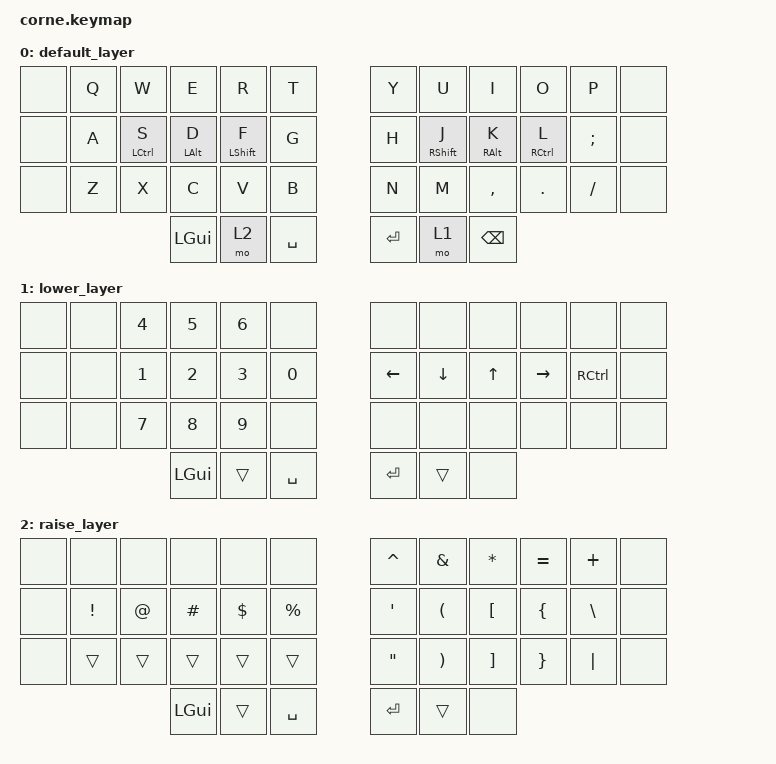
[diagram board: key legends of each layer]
/*
 * Copyright (c) 2020 The ZMK Contributors
 *
 * SPDX-License-Identifier: MIT
 */

#include <behaviors.dtsi>
#include <dt-bindings/zmk/keys.h>

/ {
    behaviors {
        as_ht: autoshift_hold_tap {
            compatible = "zmk,behavior-hold-tap";
            label = "AUTOSHIFT_HOLD_TAP";
            #binding-cells = <2>;
            tapping-term-ms = <300>;
            bindings = <&shifted>, <&kp>;
        };

        hm: homerow_mods {
            compatible = "zmk,behavior-hold-tap";
            #binding-cells = <2>;
            tapping-term-ms = <250>;
            quick-tap-ms = <0>;
            flavor = "tap-preferred";
            bindings = <&kp>, <&kp>;
        };
    };

    macros {
        shifted: macro_shifted_kp {
            #binding-cells = <1>;
            label = "MACRO_SHIFTED_KP";
            compatible = "zmk,behavior-macro-one-param";
            bindings =
                <&macro_press>,
                <&kp LSHFT &macro_param_1to1>,
                <&macro_tap>,
                <&kp MACRO_PLACEHOLDER>,
                <&macro_release>,
                <&kp LSHFT>;
        };

        as: autoshift {
            compatible = "zmk,behavior-macro-one-param";
            #binding-cells = <1>;
            label = "AUTOSHIFT_KP";
            bindings =
                <&macro_press>,
                <&macro_param_1to1 &macro_param_1to2 &as_ht MACRO_PLACEHOLDER MACRO_PLACEHOLDER>,
                <&macro_pause_for_release>,
                <&macro_release>,
                <&macro_param_1to1 &macro_param_1to2 &as_ht MACRO_PLACEHOLDER MACRO_PLACEHOLDER>;
        };
    };

    combos {
        compatible = "zmk,combos";

        tab {
            bindings = <&kp TAB>;
            key-positions = <15 16>;
        };

        esc {
            bindings = <&kp ESC>;
            key-positions = <19 20>;
        };

        lang_change {
            bindings = <&kp LG(SPACE)>;
            key-positions = <16 19>;
        };

        term {
            bindings = <&kp LG(GRAVE)>;
            key-positions = <17 18>;
        };
    };

    keymap {
        compatible = "zmk,keymap";

        default_layer {
            // -----------------------------------------------------------------------------------------
            // |  TAB |  Q  |  W  |  E  |  R  |  T  |   |  Y  |  U   |  I  |  O  |  P  | BKSP |
            // | CTRL |  A  |  S  |  D  |  F  |  G  |   |  H  |  J   |  K  |  L  |  ;  |  '   |
            // | SHFT |  Z  |  X  |  C  |  V  |  B  |   |  N  |  M   |  ,  |  .  |  /  | ESC  |
            //                    | GUI | LWR | SPC |   | ENT | RSE  | ALT |

            bindings = <
&none  &kp Q  &kp W        &kp E       &kp R         &kp T        &kp Y      &kp U              &kp I            &kp O        &kp P     &none
&none  &kp A  &hm LCTRL S  &hm LALT D  &hm LSHIFT F  &kp G        &kp H      &hm RIGHT_SHIFT J  &hm RIGHT_ALT K  &hm RCTRL L  &kp SEMI  &none
&none  &kp Z  &kp X        &kp C       &kp V         &kp B        &kp N      &kp M              &kp COMMA        &kp DOT      &kp FSLH  &none
                           &kp LGUI    &mo 2         &kp SPACE    &kp ENTER  &mo 1              &kp BACKSPACE
            >;
        };

        lower_layer {
            // -----------------------------------------------------------------------------------------
            // |  TAB |  1  |  2  |  3  |  4  |  5  |   |  6  |  7  |  8  |  9  |  0  | BKSP |
            // | BTCLR| BT1 | BT2 | BT3 | BT4 | BT5 |   | LFT | DWN |  UP | RGT |     |      |
            // | SHFT |     |     |     |     |     |   |     |     |     |     |     |      |
            //                    | GUI |     | SPC |   | ENT |     | ALT |

            bindings = <
&none  &none  &kp N4  &kp N5    &kp N6  &none        &none     &none     &none   &none      &none      &none
&none  &none  &kp N1  &kp N2    &kp N3  &kp N0       &kp LEFT  &kp DOWN  &kp UP  &kp RIGHT  &kp RCTRL  &none
&none  &none  &kp N7  &kp N8    &kp N9  &none        &none     &none     &none   &none      &none      &none
                      &kp LGUI  &trans  &kp SPACE    &kp RET   &trans    &none
            >;
        };

        raise_layer {
            // -----------------------------------------------------------------------------------------
            // |  TAB |  !  |  @  |  #  |  $  |  %  |   |  ^  |  &  |  *  |  (  |  )  | BKSP |
            // | CTRL |     |     |     |     |     |   |  -  |  =  |  [  |  ]  |  \  |  `   |
            // | SHFT |     |     |     |     |     |   |  _  |  +  |  {  |  }  | "|" |  ~   |
            //                    | GUI |     | SPC |   | ENT |     | ALT |

            bindings = <
&none  &none            &none        &none     &none       &none          &kp CARET          &kp AMPS  &kp ASTRK          &kp EQUAL       &kp PLUS  &none
&none  &kp EXCLAMATION  &kp AT_SIGN  &kp HASH  &kp DOLLAR  &kp PERCENT    &kp SINGLE_QUOTE   &kp LPAR  &kp LBKT           &kp LEFT_BRACE  &kp BSLH  &none
&none  &trans           &trans       &trans    &trans      &trans         &kp DOUBLE_QUOTES  &kp RPAR  &kp RIGHT_BRACKET  &kp RBRC        &kp PIPE  &none
                                     &kp LGUI  &trans      &kp SPACE      &kp RET            &trans    &none
            >;
        };
    };
};
